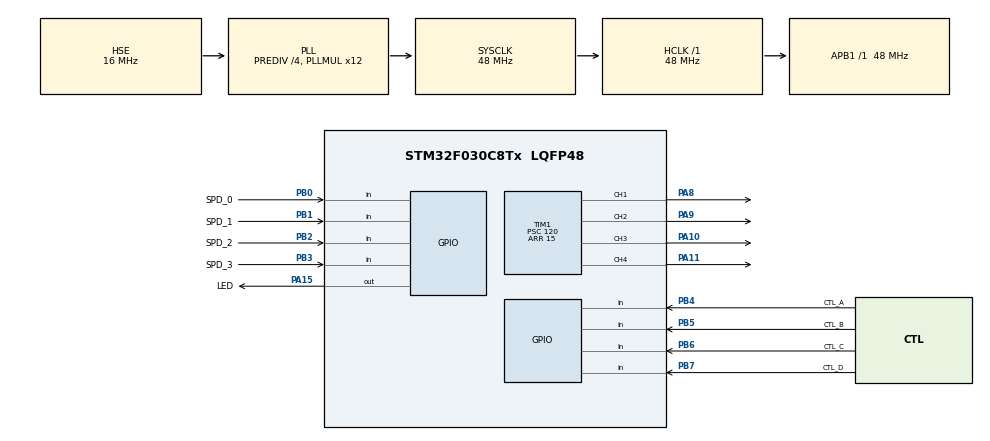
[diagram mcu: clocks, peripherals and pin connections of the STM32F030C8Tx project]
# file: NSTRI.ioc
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Mcu.Family=STM32F0
Mcu.Name=STM32F030C8Tx
Mcu.Package=LQFP48
NVIC.TIM1_BRK_UP_TRG_COM_IRQn=true\:0\:0\:true\:false\:true\:true\:true
PA10.Signal=S_TIM1_CH3
PA11.Signal=S_TIM1_CH4
PA13.Mode=Serial_Wire
PA13.Signal=SYS_SWDIO
PA14.Mode=Serial_Wire
PA14.Signal=SYS_SWCLK
PA15.GPIO_Label=LED
PA15.GPIO_Speed=GPIO_SPEED_FREQ_HIGH
PA15.Signal=GPIO_Output
PA8.Signal=S_TIM1_CH1
PA9.Signal=S_TIM1_CH2
PB0.GPIO_Label=SPD_0
PB0.GPIO_PuPd=GPIO_PULLUP
PB0.Signal=GPIO_Input
PB1.GPIO_Label=SPD_1
PB1.GPIO_PuPd=GPIO_PULLUP
PB1.Signal=GPIO_Input
PB2.GPIO_Label=SPD_2
PB2.GPIO_PuPd=GPIO_PULLUP
PB2.Signal=GPIO_Input
PB3.GPIO_Label=SPD_3
PB3.GPIO_PuPd=GPIO_PULLUP
PB3.Signal=GPIO_Input
PB4.GPIO_Label=CTL_A
PB4.GPIO_PuPd=GPIO_PULLUP
PB4.Signal=GPIO_Input
PB5.GPIO_Label=CTL_B
PB5.GPIO_PuPd=GPIO_PULLUP
PB5.Signal=GPIO_Input
PB6.GPIO_Label=CTL_C
PB6.GPIO_PuPd=GPIO_PULLUP
PB6.Signal=GPIO_Input
PB7.GPIO_Label=CTL_D
PB7.GPIO_PuPd=GPIO_PULLUP
PB7.Signal=GPIO_Input
PF0-OSC_IN.Mode=HSE-External-Oscillator
PF0-OSC_IN.Signal=RCC_OSC_IN
PF1-OSC_OUT.Mode=HSE-External-Oscillator
PF1-OSC_OUT.Signal=RCC_OSC_OUT
ProjectManager.HeapSize=0x200
ProjectManager.StackSize=0x400
ProjectManager.TargetToolchain=SW4STM32
RCC.AHBFreq_Value=48000000
RCC.APB1Freq_Value=48000000
RCC.APB1TimFreq_Value=48000000
RCC.EnbaleCSS=true
RCC.HCLKFreq_Value=48000000
RCC.HSE_VALUE=16000000
RCC.PLLDivider=RCC_PREDIV_DIV4
RCC.PLLMUL=RCC_PLL_MUL12
RCC.PLLSourceVirtual=RCC_PLLSOURCE_HSE
RCC.SYSCLKFreq_VALUE=48000000
RCC.SYSCLKSource=RCC_SYSCLKSOURCE_PLLCLK
SH.S_TIM1_CH1.0=TIM1_CH1,PWM Generation1 CH1
SH.S_TIM1_CH2.0=TIM1_CH2,PWM Generation2 CH2
SH.S_TIM1_CH3.0=TIM1_CH3,PWM Generation3 CH3
SH.S_TIM1_CH4.0=TIM1_CH4,PWM Generation4 CH4
TIM1.Channel-PWM\ Generation1\ CH1=TIM_CHANNEL_1
TIM1.Channel-PWM\ Generation2\ CH2=TIM_CHANNEL_2
TIM1.Channel-PWM\ Generation3\ CH3=TIM_CHANNEL_3
TIM1.Channel-PWM\ Generation4\ CH4=TIM_CHANNEL_4
TIM1.OCFastMode_PWM-PWM\ Generation1\ CH1=TIM_OCFAST_ENABLE
TIM1.OCFastMode_PWM-PWM\ Generation2\ CH2=TIM_OCFAST_ENABLE
TIM1.OCFastMode_PWM-PWM\ Generation3\ CH3=TIM_OCFAST_ENABLE
TIM1.OCFastMode_PWM-PWM\ Generation4\ CH4=TIM_OCFAST_ENABLE
TIM1.Period=15
TIM1.Prescaler=120
VP_IWDG_VS_IWDG.Mode=IWDG_Activate
VP_TIM1_VS_ClockSourceINT.Mode=Internal
board=custom

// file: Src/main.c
/* USER CODE BEGIN Header */
/**
  ******************************************************************************
  * @file           : main.c
  * @brief          : Main program body
  ******************************************************************************
  * @attention
  *
  * <h2><center>&copy; Copyright (c) 2019 STMicroelectronics.
  * All rights reserved.</center></h2>
  *
  * This software component is licensed by ST under BSD 3-Clause license,
  * the "License"; You may not use this file except in compliance with the
  * License. You may obtain a copy of the License at:
  *                        opensource.org/licenses/BSD-3-Clause
  *
  ******************************************************************************
  */
/* USER CODE END Header */

#include "main.h"

IWDG_HandleTypeDef hiwdg;

TIM_HandleTypeDef htim1;

/* USER CODE BEGIN PV */
uint8_t pwmValue = 0;
/* USER CODE END PV */

void SystemClock_Config(void);
static void MX_GPIO_Init(void);
static void MX_IWDG_Init(void);
static void MX_TIM1_Init(void);

int main(void)
{

  /* MCU Configuration--------------------------------------------------------*/

  /* Reset of all peripherals, Initializes the Flash interface and the Systick. */
  HAL_Init();

  /* Configure the system clock */
  SystemClock_Config();

  /* Initialize all configured peripherals */
  MX_GPIO_Init();
  MX_IWDG_Init();
  MX_TIM1_Init();

  /* Infinite loop */
  /* USER CODE BEGIN WHILE */
  while (1) {
	  HAL_GPIO_TogglePin(LED_GPIO_Port, LED_Pin);

	  pwmValue = HAL_GPIO_ReadPin(SPD_0_GPIO_Port, SPD_0_Pin);
	  pwmValue |= HAL_GPIO_ReadPin(SPD_1_GPIO_Port, SPD_1_Pin) << 1;
	  pwmValue |= HAL_GPIO_ReadPin(SPD_2_GPIO_Port, SPD_2_Pin) << 2;
	  pwmValue |= HAL_GPIO_ReadPin(SPD_3_GPIO_Port, SPD_3_Pin) << 3;
	  pwmValue &= 0xF;
	  pwmValue = 0xF - pwmValue;

	  htim1.Instance->CCR1 = pwmValue;
	  htim1.Instance->CCR2 = pwmValue;
	  htim1.Instance->CCR3 = pwmValue;
	  htim1.Instance->CCR4 = pwmValue;

	  if (HAL_GPIO_ReadPin(CTL_A_GPIO_Port, CTL_A_Pin) == GPIO_PIN_RESET)
		  HAL_TIM_PWM_Start_IT(&htim1, TIM_CHANNEL_1);
	  else HAL_TIM_PWM_Stop_IT(&htim1, TIM_CHANNEL_1);
	  if (HAL_GPIO_ReadPin(CTL_B_GPIO_Port, CTL_B_Pin) == GPIO_PIN_RESET)
		  HAL_TIM_PWM_Start_IT(&htim1, TIM_CHANNEL_2);
	  else HAL_TIM_PWM_Stop_IT(&htim1, TIM_CHANNEL_2);
	  if (HAL_GPIO_ReadPin(CTL_C_GPIO_Port, CTL_C_Pin) == GPIO_PIN_RESET)
		  HAL_TIM_PWM_Start_IT(&htim1, TIM_CHANNEL_3);
	  else HAL_TIM_PWM_Stop_IT(&htim1, TIM_CHANNEL_3);
	  if (HAL_GPIO_ReadPin(CTL_D_GPIO_Port, CTL_D_Pin) == GPIO_PIN_RESET)
		  HAL_TIM_PWM_Start_IT(&htim1, TIM_CHANNEL_4);
	  else HAL_TIM_PWM_Stop_IT(&htim1, TIM_CHANNEL_4);

	  HAL_IWDG_Refresh(&hiwdg);
    /* USER CODE END WHILE */

  }
}

void SystemClock_Config(void)
{
  RCC_OscInitTypeDef RCC_OscInitStruct = {0};
  RCC_ClkInitTypeDef RCC_ClkInitStruct = {0};

  /** Initializes the CPU, AHB and APB busses clocks
  */
  RCC_OscInitStruct.OscillatorType = RCC_OSCILLATORTYPE_LSI|RCC_OSCILLATORTYPE_HSE;
  RCC_OscInitStruct.HSEState = RCC_HSE_ON;
  RCC_OscInitStruct.LSIState = RCC_LSI_ON;
  RCC_OscInitStruct.PLL.PLLState = RCC_PLL_ON;
  RCC_OscInitStruct.PLL.PLLSource = RCC_PLLSOURCE_HSE;
  RCC_OscInitStruct.PLL.PLLMUL = RCC_PLL_MUL12;
  RCC_OscInitStruct.PLL.PREDIV = RCC_PREDIV_DIV4;
  if (HAL_RCC_OscConfig(&RCC_OscInitStruct) != HAL_OK)
  {
    Error_Handler();
  }
  /** Initializes the CPU, AHB and APB busses clocks
  */
  RCC_ClkInitStruct.ClockType = RCC_CLOCKTYPE_HCLK|RCC_CLOCKTYPE_SYSCLK
                              |RCC_CLOCKTYPE_PCLK1;
  RCC_ClkInitStruct.SYSCLKSource = RCC_SYSCLKSOURCE_PLLCLK;
  RCC_ClkInitStruct.AHBCLKDivider = RCC_SYSCLK_DIV1;
  RCC_ClkInitStruct.APB1CLKDivider = RCC_HCLK_DIV1;

  if (HAL_RCC_ClockConfig(&RCC_ClkInitStruct, FLASH_LATENCY_1) != HAL_OK)
  {
    Error_Handler();
  }
  /** Enables the Clock Security System
  */
  HAL_RCC_EnableCSS();
}

static void MX_IWDG_Init(void)
{

  hiwdg.Instance = IWDG;
  hiwdg.Init.Prescaler = IWDG_PRESCALER_4;
  hiwdg.Init.Window = 4095;
  hiwdg.Init.Reload = 4095;
  if (HAL_IWDG_Init(&hiwdg) != HAL_OK)
  {
    Error_Handler();
  }

}

static void MX_TIM1_Init(void)
{

  TIM_ClockConfigTypeDef sClockSourceConfig = {0};
  TIM_MasterConfigTypeDef sMasterConfig = {0};
  TIM_OC_InitTypeDef sConfigOC = {0};
  TIM_BreakDeadTimeConfigTypeDef sBreakDeadTimeConfig = {0};

  htim1.Instance = TIM1;
  htim1.Init.Prescaler = 120;
  htim1.Init.CounterMode = TIM_COUNTERMODE_UP;
  htim1.Init.Period = 15;
  htim1.Init.ClockDivision = TIM_CLOCKDIVISION_DIV1;
  htim1.Init.RepetitionCounter = 0;
  htim1.Init.AutoReloadPreload = TIM_AUTORELOAD_PRELOAD_DISABLE;
  if (HAL_TIM_Base_Init(&htim1) != HAL_OK)
  {
    Error_Handler();
  }
  sClockSourceConfig.ClockSource = TIM_CLOCKSOURCE_INTERNAL;
  if (HAL_TIM_ConfigClockSource(&htim1, &sClockSourceConfig) != HAL_OK)
  {
    Error_Handler();
  }
  if (HAL_TIM_PWM_Init(&htim1) != HAL_OK)
  {
    Error_Handler();
  }
  sMasterConfig.MasterOutputTrigger = TIM_TRGO_RESET;
  sMasterConfig.MasterSlaveMode = TIM_MASTERSLAVEMODE_DISABLE;
  if (HAL_TIMEx_MasterConfigSynchronization(&htim1, &sMasterConfig) != HAL_OK)
  {
    Error_Handler();
  }
  sConfigOC.OCMode = TIM_OCMODE_PWM1;
  sConfigOC.Pulse = 0;
  sConfigOC.OCPolarity = TIM_OCPOLARITY_HIGH;
  sConfigOC.OCNPolarity = TIM_OCNPOLARITY_HIGH;
  sConfigOC.OCFastMode = TIM_OCFAST_ENABLE;
  sConfigOC.OCIdleState = TIM_OCIDLESTATE_RESET;
  sConfigOC.OCNIdleState = TIM_OCNIDLESTATE_RESET;
  if (HAL_TIM_PWM_ConfigChannel(&htim1, &sConfigOC, TIM_CHANNEL_1) != HAL_OK)
  {
    Error_Handler();
  }
  if (HAL_TIM_PWM_ConfigChannel(&htim1, &sConfigOC, TIM_CHANNEL_2) != HAL_OK)
  {
    Error_Handler();
  }
  if (HAL_TIM_PWM_ConfigChannel(&htim1, &sConfigOC, TIM_CHANNEL_3) != HAL_OK)
  {
    Error_Handler();
  }
  if (HAL_TIM_PWM_ConfigChannel(&htim1, &sConfigOC, TIM_CHANNEL_4) != HAL_OK)
  {
    Error_Handler();
  }
  sBreakDeadTimeConfig.OffStateRunMode = TIM_OSSR_DISABLE;
  sBreakDeadTimeConfig.OffStateIDLEMode = TIM_OSSI_DISABLE;
  sBreakDeadTimeConfig.LockLevel = TIM_LOCKLEVEL_OFF;
  sBreakDeadTimeConfig.DeadTime = 0;
  sBreakDeadTimeConfig.BreakState = TIM_BREAK_DISABLE;
  sBreakDeadTimeConfig.BreakPolarity = TIM_BREAKPOLARITY_HIGH;
  sBreakDeadTimeConfig.AutomaticOutput = TIM_AUTOMATICOUTPUT_DISABLE;
  if (HAL_TIMEx_ConfigBreakDeadTime(&htim1, &sBreakDeadTimeConfig) != HAL_OK)
  {
    Error_Handler();
  }
  HAL_TIM_MspPostInit(&htim1);

}

static void MX_GPIO_Init(void)
{
  GPIO_InitTypeDef GPIO_InitStruct = {0};

  /* GPIO Ports Clock Enable */
  __HAL_RCC_GPIOF_CLK_ENABLE();
  __HAL_RCC_GPIOB_CLK_ENABLE();
  __HAL_RCC_GPIOA_CLK_ENABLE();

  /*Configure GPIO pin Output Level */
  HAL_GPIO_WritePin(LED_GPIO_Port, LED_Pin, GPIO_PIN_RESET);

  /*Configure GPIO pins : SPD_0_Pin SPD_1_Pin SPD_2_Pin SPD_3_Pin
                           CTL_A_Pin CTL_B_Pin CTL_C_Pin CTL_D_Pin */
  GPIO_InitStruct.Pin = SPD_0_Pin|SPD_1_Pin|SPD_2_Pin|SPD_3_Pin
                          |CTL_A_Pin|CTL_B_Pin|CTL_C_Pin|CTL_D_Pin;
  GPIO_InitStruct.Mode = GPIO_MODE_INPUT;
  GPIO_InitStruct.Pull = GPIO_PULLUP;
  HAL_GPIO_Init(GPIOB, &GPIO_InitStruct);

  /*Configure GPIO pin : LED_Pin */
  GPIO_InitStruct.Pin = LED_Pin;
  GPIO_InitStruct.Mode = GPIO_MODE_OUTPUT_PP;
  GPIO_InitStruct.Pull = GPIO_NOPULL;
  GPIO_InitStruct.Speed = GPIO_SPEED_FREQ_HIGH;
  HAL_GPIO_Init(LED_GPIO_Port, &GPIO_InitStruct);

}

void Error_Handler(void)
{
}

/************************ (C) COPYRIGHT STMicroelectronics *****END OF FILE****/
